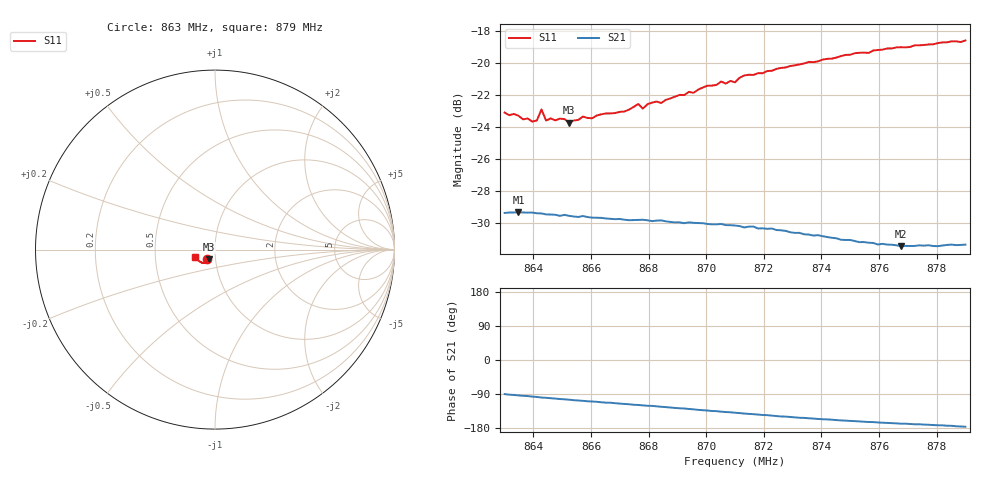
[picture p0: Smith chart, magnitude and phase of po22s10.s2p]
# HZ S RI R 50
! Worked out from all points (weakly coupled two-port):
!   101 points, 863 MHz to 879 MHz, reference 50 ohm
!   highest |S21| = -29.35 dB at 863.48 MHz (marker M1); lowest = -31.5 dB at 876.76 MHz (marker M2)
!   lowest |S11| = -23.7 dB at 865.24 MHz (marker M3), VSWR 1.14, Z = 46.4 - j5.11 ohm
!   |S11| at or under -10 dB: start of sweep to end of sweep
!   S12 and S22 are empty: the file has one direction only
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8.63e8  -0.0439 -0.0543  5.4e-05 -0.0339  0 0  0 0
8.6348e8  -0.0431 -0.053  -0.0021 -0.034  0 0  0 0
8.6364e8  -0.0399 -0.0532  -0.00265 -0.0339  0 0  0 0
8.6412e8  -0.0392 -0.0531  -0.00439 -0.0336  0 0  0 0
8.6428e8  -0.0442 -0.0562  -0.00534 -0.0334  0 0  0 0
8.6444e8  -0.0379 -0.0539  -0.00569 -0.0331  0 0  0 0
8.6492e8  -0.0375 -0.0553  -0.00747 -0.0324  0 0  0 0
8.6524e8  -0.0348 -0.0549  -0.00848 -0.0321  0 0  0 0
8.6572e8  -0.0339 -0.0588  -0.0101 -0.0316  0 0  0 0
8.6604e8  -0.0331 -0.0583  -0.011 -0.0309  0 0  0 0
8.6716e8  -0.0341 -0.0616  -0.0141 -0.0291  0 0  0 0
8.6764e8  -0.0364 -0.0648  -0.0155 -0.0283  0 0  0 0
8.678e8  -0.0348 -0.0629  -0.016 -0.028  0 0  0 0
8.6812e8  -0.0365 -0.0655  -0.0165 -0.0274  0 0  0 0
8.6844e8  -0.0364 -0.0654  -0.0177 -0.0268  0 0  0 0
8.7052e8  -0.0466 -0.0739  -0.0227 -0.0216  0 0  0 0
8.71e8  -0.0483 -0.0722  -0.0235 -0.0203  0 0  0 0
8.7132e8  -0.0519 -0.0751  -0.0238 -0.0191  0 0  0 0
8.7372e8  -0.0683 -0.0736  -0.026 -0.0124  0 0  0 0
8.7644e8  -0.0927 -0.0607  -0.0263 -0.00624  0 0  0 0
8.7676e8  -0.0951 -0.0588  -0.0261 -0.00552  0 0  0 0
8.79e8  -0.1106 -0.0394  -0.0269 -0.00183  0 0  0 0
